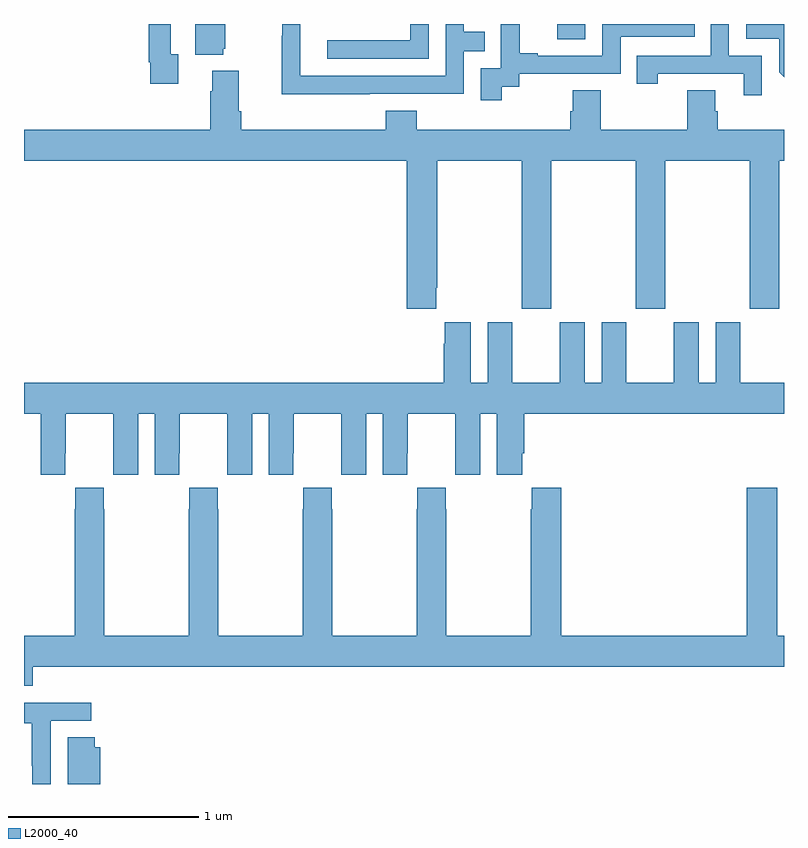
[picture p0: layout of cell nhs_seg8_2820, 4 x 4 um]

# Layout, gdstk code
import gdstk
lib = gdstk.Library(unit=1e-6, precision=1e-09)
def R(c, l, rs):  # rectangles x0, y0, x1, y1
    for r in rs: c.add(gdstk.rectangle(r[:2], r[2:], *l))
def P(c, l, *ps):  # polygons
    for p in ps: c.add(gdstk.Polygon(p, *l))
L2000_40 = (2000, 40)

nhs_seg8_2820 = lib.new_cell('nhs_seg8_2820')
R(nhs_seg8_2820, L2000_40, [(291.807,1103.82,291.954,1103.9)])
P(nhs_seg8_2820, L2000_40, [(291.129,1103.9),(291.033,1103.9),(291.033,1103.814),(290.595,1103.814),(290.595,1103.718),(291.129,1103.718)],
  [(289.813,1103.742),(289.773,1103.742),(289.773,1103.9),(289.657,1103.9),(289.657,1103.698),(289.665,1103.698),(289.665,1103.586),(289.813,1103.586)],
  [(291.514,1103.569),(291.606,1103.569),(291.606,1103.637),(292.14,1103.637),(292.14,1103.832),(292.529,1103.832),(292.529,1103.9),(292.044,1103.9),(292.044,1103.733),(291.703,1103.733),(291.703,1103.746),(291.608,1103.746),(291.608,1103.9),(291.509,1103.9),(291.509,1103.897),(291.51,1103.897),(291.51,1103.667),(291.405,1103.667),(291.405,1103.499),(291.514,1103.499)],
  [(293,1103.9),(292.8,1103.9),(292.8,1103.823),(292.974,1103.823),(292.974,1103.646),(293,1103.62)],
  [(290.819,1103.532),(291.315,1103.532),(291.315,1103.757),(291.425,1103.757),(291.425,1103.858),(291.315,1103.858),(291.315,1103.9),(291.219,1103.9),(291.219,1103.628),(290.454,1103.628),(290.454,1103.9),(290.358,1103.9),(290.358,1103.837),(290.356,1103.837),(290.356,1103.531),(290.819,1103.531)],
  [(290.048,1103.769),(290.059,1103.769),(290.059,1103.9),(289.901,1103.9),(289.901,1103.738),(290.048,1103.738)],
  [(292.884,1103.733),(292.71,1103.733),(292.71,1103.9),(292.614,1103.9),(292.614,1103.733),(292.225,1103.733),(292.225,1103.586),(292.336,1103.586),(292.336,1103.637),(292.787,1103.637),(292.787,1103.526),(292.884,1103.526)],
  [(291.169,1102.513),(291.174,1102.513),(291.174,1103.18),(291.619,1103.18),(291.619,1102.401),(291.774,1102.401),(291.774,1103.18),(292.219,1103.18),(292.219,1102.401),(292.374,1102.401),(292.374,1103.18),(292.819,1103.18),(292.819,1102.401),(292.974,1102.401),(292.974,1103.18),(293,1103.18),(293,1103.344),(292.652,1103.344),(292.652,1103.442),(292.639,1103.442),(292.639,1103.552),(292.492,1103.552),(292.492,1103.344),(292.035,1103.344),(292.035,1103.552),(291.887,1103.552),(291.887,1103.442),(291.875,1103.442),(291.875,1103.344),(291.068,1103.344),(291.068,1103.443),(290.903,1103.443),(290.903,1103.344),(290.144,1103.344),(290.144,1103.44),(290.131,1103.44),(290.131,1103.653),(289.991,1103.653),(289.991,1103.546),(289.979,1103.546),(289.979,1103.344),(289,1103.344),(289,1103.18),(291.014,1103.18),(291.014,1102.401),(291.169,1102.401)],
  [(289,1101.848),(289.088,1101.848),(289.088,1101.528),(289.218,1101.528),(289.218,1101.64),(289.219,1101.64),(289.219,1101.848),(289.469,1101.848),(289.469,1101.64),(289.47,1101.64),(289.47,1101.528),(289.6,1101.528),(289.6,1101.848),(289.688,1101.848),(289.688,1101.528),(289.818,1101.528),(289.818,1101.64),(289.819,1101.64),(289.819,1101.848),(290.069,1101.848),(290.069,1101.64),(290.07,1101.64),(290.07,1101.528),(290.2,1101.528),(290.2,1101.848),(290.288,1101.848),(290.288,1101.528),(290.418,1101.528),(290.418,1101.64),(290.419,1101.64),(290.419,1101.848),(290.669,1101.848),(290.669,1101.64),(290.67,1101.64),(290.67,1101.528),(290.8,1101.528),(290.8,1101.848),(290.888,1101.848),(290.888,1101.528),(291.018,1101.528),(291.018,1101.64),(291.019,1101.64),(291.019,1101.848),(291.269,1101.848),(291.269,1101.64),(291.27,1101.64),(291.27,1101.528),(291.4,1101.528),(291.4,1101.848),(291.488,1101.848),(291.488,1101.528),(291.622,1101.528),(291.622,1101.64),(291.632,1101.64),(291.632,1101.848),(293,1101.848),(293,1102.012),(292.771,1102.012),(292.771,1102.33),(292.64,1102.33),(292.64,1102.012),(292.552,1102.012),(292.552,1102.33),(292.421,1102.33),(292.421,1102.012),(292.171,1102.012),(292.171,1102.33),(292.04,1102.33),(292.04,1102.012),(291.952,1102.012),(291.952,1102.33),(291.821,1102.33),(291.821,1102.012),(291.571,1102.012),(291.571,1102.33),(291.44,1102.33),(291.44,1102.012),(291.352,1102.012),(291.352,1102.33),(291.215,1102.33),(291.215,1102.217),(291.209,1102.217),(291.209,1102.012),(289,1102.012)],
  [(293,1100.68),(292.965,1100.68),(292.965,1101.46),(292.805,1101.46),(292.805,1100.68),(291.827,1100.68),(291.827,1101.46),(291.673,1101.46),(291.673,1101.347),(291.667,1101.347),(291.667,1100.68),(291.222,1100.68),(291.222,1101.347),(291.219,1101.347),(291.219,1101.46),(291.069,1101.46),(291.069,1101.347),(291.067,1101.347),(291.067,1100.68),(290.622,1100.68),(290.622,1101.347),(290.619,1101.347),(290.619,1101.46),(290.469,1101.46),(290.469,1101.347),(290.467,1101.347),(290.467,1100.68),(290.022,1100.68),(290.022,1101.347),(290.019,1101.347),(290.019,1101.46),(289.869,1101.46),(289.869,1101.347),(289.867,1101.347),(289.867,1100.68),(289.422,1100.68),(289.422,1101.347),(289.419,1101.347),(289.419,1101.46),(289.269,1101.46),(289.269,1101.347),(289.267,1101.347),(289.267,1100.68),(289,1100.68),(289,1100.417),(289.046,1100.417),(289.046,1100.516),(293,1100.516)],
  [(289.14,1100.232),(289.354,1100.232),(289.354,1100.328),(289,1100.328),(289,1100.22),(289.042,1100.22),(289.042,1099.996),(289.044,1099.996),(289.044,1099.9),(289.14,1099.9)],
  [(289.4,1100.094),(289.373,1100.094),(289.373,1100.147),(289.229,1100.147),(289.229,1099.9),(289.4,1099.9)])

lib.write_gds('nhs_seg8_2820.gds')
